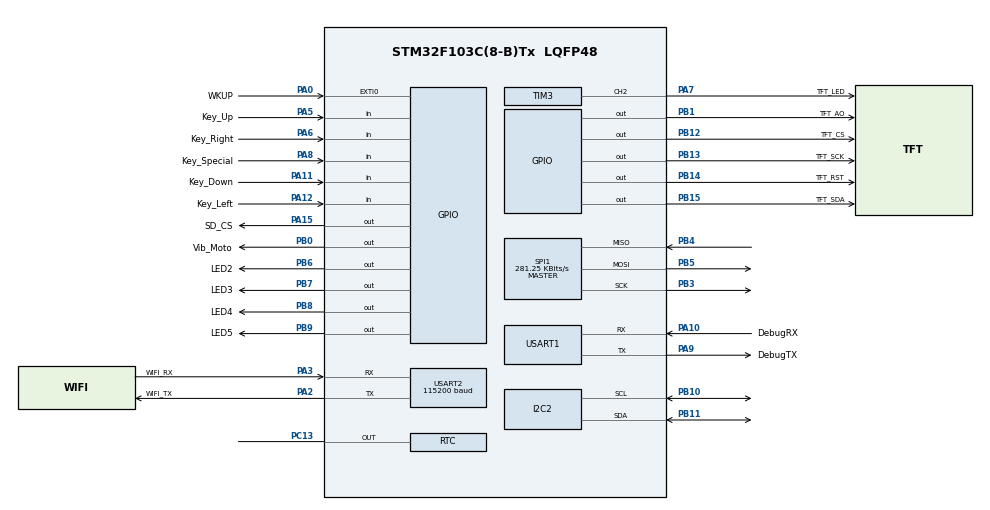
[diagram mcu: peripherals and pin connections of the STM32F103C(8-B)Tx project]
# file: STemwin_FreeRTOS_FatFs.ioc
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FATFS._MAX_LFN=12
FREERTOS.Queues01=KeyQueue,10,Key_Statu_Typedef,0,Dynamic,NULL,NULL;StopQueue,1,uint8_t,0,Dynamic,NULL,NULL
FREERTOS.Tasks01=defaultTask,-2,64,StartDefaultTask,Default,NULL,Dynamic,NULL,NULL;GUITask,-1,512,StartGUITask,Default,NULL,Dynamic,NULL,NULL;KeyTask,3,128,StartKeyTask,Default,NULL,Dynamic,NULL,NULL;AlarmTask,-2,64,StartAlarmTask,Default,NULL,Dynamic,NULL,NULL;StopTask,-2,128,StartStopTask,Default,NULL,Dynamic,NULL,NULL
FREERTOS.configENABLE_BACKWARD_COMPATIBILITY=0
FREERTOS.configIDLE_SHOULD_YIELD=0
FREERTOS.configMAX_TASK_NAME_LEN=12
FREERTOS.configMINIMAL_STACK_SIZE=64
FREERTOS.configQUEUE_REGISTRY_SIZE=0
FREERTOS.configTOTAL_HEAP_SIZE=5210
FREERTOS.configUSE_MUTEXES=1
FREERTOS.configUSE_TASK_NOTIFICATIONS=0
FREERTOS.configUSE_TICKLESS_IDLE=1
Mcu.Family=STM32F1
Mcu.Name=STM32F103C(8-B)Tx
Mcu.Package=LQFP48
NVIC.EXTI0_IRQn=true\:5\:0\:false\:false\:true\:true\:true
NVIC.PriorityGroup=NVIC_PRIORITYGROUP_4
NVIC.RTC_Alarm_IRQn=true\:5\:0\:false\:true\:true\:1\:true\:true
NVIC.TIM4_IRQn=true\:0\:0\:false\:false\:true\:false\:false
NVIC.TimeBase=TIM4_IRQn
NVIC.TimeBaseIP=TIM4
PA0-WKUP.GPIO_Label=WKUP
PA0-WKUP.Signal=GPXTI0
PA10.GPIO_Label=DebugRX
PA10.Mode=Asynchronous
PA10.Signal=USART1_RX
PA11.GPIO_Label=Key_Down
PA11.GPIO_PuPd=GPIO_PULLDOWN
PA11.Signal=GPIO_Input
PA12.GPIO_Label=Key_Left
PA12.GPIO_PuPd=GPIO_PULLDOWN
PA12.Signal=GPIO_Input
PA13.Mode=Serial_Wire
PA13.Signal=SYS_JTMS-SWDIO
PA14.Mode=Serial_Wire
PA14.Signal=SYS_JTCK-SWCLK
PA15.GPIO_Label=SD_CS
PA15.Signal=GPIO_Output
PA2.GPIO_Label=WIFI_TX
PA2.Mode=Asynchronous
PA2.Signal=USART2_TX
PA3.GPIO_Label=WIFI_RX
PA3.Mode=Asynchronous
PA3.Signal=USART2_RX
PA5.GPIO_Label=Key_Up
PA5.GPIO_PuPd=GPIO_PULLDOWN
PA5.Signal=GPIO_Input
PA6.GPIO_Label=Key_Right
PA6.GPIO_PuPd=GPIO_PULLDOWN
PA6.Signal=GPIO_Input
PA7.GPIO_Label=TFT_LED
PA7.Signal=S_TIM3_CH2
PA8.GPIO_Label=Key_Special
PA8.GPIO_PuPd=GPIO_PULLDOWN
PA8.Signal=GPIO_Input
PA9.GPIO_Label=DebugTX
PA9.Mode=Asynchronous
PA9.Signal=USART1_TX
PB0.GPIO_Label=Vib_Moto
PB0.GPIO_Speed=GPIO_SPEED_FREQ_HIGH
PB0.Signal=GPIO_Output
PB1.GPIO_Label=TFT_AO
PB1.GPIO_Speed=GPIO_SPEED_FREQ_HIGH
PB1.Signal=GPIO_Output
PB10.Mode=I2C
PB10.Signal=I2C2_SCL
PB11.Mode=I2C
PB11.Signal=I2C2_SDA
PB12.GPIO_Label=TFT_CS
PB12.GPIO_Speed=GPIO_SPEED_FREQ_HIGH
PB12.Signal=GPIO_Output
PB13.GPIO_Label=TFT_SCK
PB13.GPIO_Speed=GPIO_SPEED_FREQ_HIGH
PB13.Signal=GPIO_Output
PB14.GPIO_Label=TFT_RST
PB14.GPIO_Speed=GPIO_SPEED_FREQ_HIGH
PB14.Signal=GPIO_Output
PB15.GPIO_Label=TFT_SDA
PB15.GPIO_Speed=GPIO_SPEED_FREQ_HIGH
PB15.Signal=GPIO_Output
PB3.Mode=Full_Duplex_Master
PB3.Signal=SPI1_SCK
PB4.Mode=Full_Duplex_Master
PB4.Signal=SPI1_MISO
PB5.Mode=Full_Duplex_Master
PB5.Signal=SPI1_MOSI
PB6.GPIO_Label=LED2
PB6.GPIO_Speed=GPIO_SPEED_FREQ_HIGH
PB6.PinState=GPIO_PIN_SET
PB6.Signal=GPIO_Output
PB7.GPIO_Label=LED3
PB7.GPIO_Speed=GPIO_SPEED_FREQ_HIGH
PB7.PinState=GPIO_PIN_SET
PB7.Signal=GPIO_Output
PB8.GPIO_Label=LED4
PB8.GPIO_Speed=GPIO_SPEED_FREQ_HIGH
PB8.PinState=GPIO_PIN_SET
PB8.Signal=GPIO_Output
PB9.GPIO_Label=LED5
PB9.GPIO_Speed=GPIO_SPEED_FREQ_HIGH
PB9.PinState=GPIO_PIN_SET
PB9.Signal=GPIO_Output
PC13-TAMPER-RTC.Mode=RTC OUT
PC13-TAMPER-RTC.Signal=RTC_OUT
PD0-OSC_IN.Mode=HSE-External-Oscillator
PD0-OSC_IN.Signal=RCC_OSC_IN
PD1-OSC_OUT.Mode=HSE-External-Oscillator
PD1-OSC_OUT.Signal=RCC_OSC_OUT
ProjectManager.HeapSize=0x600
ProjectManager.StackSize=0x800
ProjectManager.TargetToolchain=MDK-ARM V5
RCC.AHBFreq_Value=72000000
RCC.APB1CLKDivider=RCC_HCLK_DIV2
RCC.APB1Freq_Value=36000000
RCC.APB1TimFreq_Value=72000000
RCC.APB2Freq_Value=72000000
RCC.APB2TimFreq_Value=72000000
RCC.HCLKFreq_Value=72000000
RCC.HSE_VALUE=12000000
RCC.PLLMUL=RCC_PLL_MUL6
RCC.PLLSourceVirtual=RCC_PLLSOURCE_HSE
RCC.PREFETCH_ENABLE=1
RCC.SYSCLKFreq_VALUE=72000000
RCC.SYSCLKSource=RCC_SYSCLKSOURCE_PLLCLK
RCC.USBFreq_Value=72000000
RTC.Date=19
RTC.Format=RTC_FORMAT_BIN
RTC.Hours=12
RTC.Hours_A-RTC\ OUT=12
RTC.Minutes=0
RTC.Minutes_A-RTC\ OUT=0
RTC.Month=RTC_MONTH_DECEMBER
RTC.Seconds=0
RTC.Seconds_A-RTC\ OUT=20
RTC.WeekDay=RTC_WEEKDAY_WEDNESDAY
RTC.Year=19
SH.S_TIM3_CH2.0=TIM3_CH2,PWM Generation2 CH2
SPI1.BaudRatePrescaler=SPI_BAUDRATEPRESCALER_256
SPI1.CLKPhase=SPI_PHASE_2EDGE
SPI1.CLKPolarity=SPI_POLARITY_HIGH
SPI1.CalculateBaudRate=281.25 KBits/s
SPI1.Direction=SPI_DIRECTION_2LINES
SPI1.Mode=SPI_MODE_MASTER
SPI1.VirtualType=VM_MASTER
TIM3.Channel-PWM\ Generation2\ CH2=TIM_CHANNEL_2
TIM3.Period=11
TIM3.Prescaler=72-1
TIM3.Pulse-PWM\ Generation2\ CH2=11
USART1.VirtualMode=VM_ASYNC
USART2.BaudRate=115200
USART2.VirtualMode=VM_ASYNC
VP_CRC_VS_CRC.Mode=CRC_Activate
VP_FATFS_VS_Generic.Mode=User_defined
VP_FREERTOS_VS_ENABLE.Mode=Enabled
VP_RTC_VS_RTC_Activate.Mode=RTC_Enabled
VP_RTC_VS_RTC_Calendar.Mode=RTC_Calendar
VP_SYS_VS_tim4.Mode=TIM4
VP_TIM3_VS_ClockSourceINT.Mode=Internal
board=custom

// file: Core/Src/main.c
/* USER CODE BEGIN Header */
/**
  ******************************************************************************
  * @file           : main.c
  * @brief          : Main program body
  ******************************************************************************
  * This notice applies to any and all portions of this file
  * that are not between comment pairs USER CODE BEGIN and
  * USER CODE END. Other portions of this file, whether
  * inserted by the user or by software development tools
  * are owned by their respective copyright owners.
  *
  * Copyright (c) 2018 STMicroelectronics International N.V.
  * All rights reserved.
  *
  * Redistribution and use in source and binary forms, with or without
  * modification, are permitted, provided that the following conditions are met:
  *
  * 1. Redistribution of source code must retain the above copyright notice,
  *    this list of conditions and the following disclaimer.
  * 2. Redistributions in binary form must reproduce the above copyright notice,
  *    this list of conditions and the following disclaimer in the documentation
  *    and/or other materials provided with the distribution.
  * 3. Neither the name of STMicroelectronics nor the names of other
  *    contributors to this software may be used to endorse or promote products
  *    derived from this software without specific written permission.
  * 4. This software, including modifications and/or derivative works of this
  *    software, must execute solely and exclusively on microcontroller or
  *    microprocessor devices manufactured by or for STMicroelectronics.
  * 5. Redistribution and use of this software other than as permitted under
  *    this license is void and will automatically terminate your rights under
  *    this license.
  *
  * THIS SOFTWARE IS PROVIDED BY STMICROELECTRONICS AND CONTRIBUTORS "AS IS"
  * AND ANY EXPRESS, IMPLIED OR STATUTORY WARRANTIES, INCLUDING, BUT NOT
  * LIMITED TO, THE IMPLIED WARRANTIES OF MERCHANTABILITY, FITNESS FOR A
  * PARTICULAR PURPOSE AND NON-INFRINGEMENT OF THIRD PARTY INTELLECTUAL PROPERTY
  * RIGHTS ARE DISCLAIMED TO THE FULLEST EXTENT PERMITTED BY LAW. IN NO EVENT
  * SHALL STMICROELECTRONICS OR CONTRIBUTORS BE LIABLE FOR ANY DIRECT, INDIRECT,
  * INCIDENTAL, SPECIAL, EXEMPLARY, OR CONSEQUENTIAL DAMAGES (INCLUDING, BUT NOT
  * LIMITED TO, PROCUREMENT OF SUBSTITUTE GOODS OR SERVICES; LOSS OF USE, DATA,
  * OR PROFITS; OR BUSINESS INTERRUPTION) HOWEVER CAUSED AND ON ANY THEORY OF
  * LIABILITY, WHETHER IN CONTRACT, STRICT LIABILITY, OR TORT (INCLUDING
  * NEGLIGENCE OR OTHERWISE) ARISING IN ANY WAY OUT OF THE USE OF THIS SOFTWARE,
  * EVEN IF ADVISED OF THE POSSIBILITY OF SUCH DAMAGE.
  *
  ******************************************************************************
  */
/* USER CODE END Header */

#include "main.h"
#include "cmsis_os.h"
#include "crc.h"
#include "fatfs.h"
#include "i2c.h"
#include "rtc.h"
#include "spi.h"
#include "tim.h"
#include "usart.h"
#include "gpio.h"

void SystemClock_Config(void);
void MX_FREERTOS_Init(void);
static void MX_NVIC_Init(void);

int main(void)
{

  /* MCU Configuration--------------------------------------------------------*/

  /* Reset of all peripherals, Initializes the Flash interface and the Systick. */
  HAL_Init();

  /* Configure the system clock */
  SystemClock_Config();

  /* Initialize all configured peripherals */
  MX_GPIO_Init();
  MX_USART2_UART_Init();
  MX_I2C2_Init();
  MX_TIM3_Init();
  MX_RTC_Init();
  MX_CRC_Init();
  MX_USART1_UART_Init();
  MX_SPI1_Init();

  /* Initialize interrupts */
  MX_NVIC_Init();
  /* USER CODE BEGIN 2 */
  LL_GPIO_ResetOutputPin(GPIOB, LED2_Pin | LED3_Pin | LED4_Pin | LED5_Pin);
  HAL_TIM_Base_Start(&htim3);
  HAL_TIM_PWM_Start(&htim3, TIM_CHANNEL_2);
  /* USER CODE END 2 */

  /* Call init function for freertos objects (in freertos.c) */
  MX_FREERTOS_Init();

  /* Start scheduler */
  osKernelStart();

  /* We should never get here as control is now taken by the scheduler */

  /* Infinite loop */
  while (1)
  {

  }
}

void SystemClock_Config(void)
{
  LL_FLASH_SetLatency(LL_FLASH_LATENCY_2);

   if(LL_FLASH_GetLatency() != LL_FLASH_LATENCY_2)
  {
    Error_Handler();
  }
  LL_RCC_HSE_Enable();

   /* Wait till HSE is ready */
  while(LL_RCC_HSE_IsReady() != 1)
  {

  }
  LL_RCC_LSI_Enable();

   /* Wait till LSI is ready */
  while(LL_RCC_LSI_IsReady() != 1)
  {

  }
  LL_PWR_EnableBkUpAccess();
  LL_RCC_ForceBackupDomainReset();
  LL_RCC_ReleaseBackupDomainReset();
  LL_RCC_SetRTCClockSource(LL_RCC_RTC_CLKSOURCE_LSI);
  LL_RCC_EnableRTC();
  LL_RCC_PLL_ConfigDomain_SYS(LL_RCC_PLLSOURCE_HSE_DIV_1, LL_RCC_PLL_MUL_6);
  LL_RCC_PLL_Enable();

   /* Wait till PLL is ready */
  while(LL_RCC_PLL_IsReady() != 1)
  {

  }
  LL_RCC_SetAHBPrescaler(LL_RCC_SYSCLK_DIV_1);
  LL_RCC_SetAPB1Prescaler(LL_RCC_APB1_DIV_2);
  LL_RCC_SetAPB2Prescaler(LL_RCC_APB2_DIV_1);
  LL_RCC_SetSysClkSource(LL_RCC_SYS_CLKSOURCE_PLL);

   /* Wait till System clock is ready */
  while(LL_RCC_GetSysClkSource() != LL_RCC_SYS_CLKSOURCE_STATUS_PLL)
  {

  }
  LL_Init1msTick(72000000);
  LL_SYSTICK_SetClkSource(LL_SYSTICK_CLKSOURCE_HCLK);
  LL_SetSystemCoreClock(72000000);
}

/**
  * @brief NVIC Configuration.
  * @retval None
  */
static void MX_NVIC_Init(void)
{
  /* RTC_Alarm_IRQn interrupt configuration */
  HAL_NVIC_SetPriority(RTC_Alarm_IRQn, 5, 0);
  HAL_NVIC_EnableIRQ(RTC_Alarm_IRQn);
}

void HAL_TIM_PeriodElapsedCallback(TIM_HandleTypeDef *htim)
{
  if (htim->Instance == TIM4) {
    HAL_IncTick();
  }
}

void Error_Handler(void)
{
}

/************************ (C) COPYRIGHT STMicroelectronics *****END OF FILE****/

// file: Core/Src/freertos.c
/* USER CODE BEGIN Header */
/**
  ******************************************************************************
  * File Name          : freertos.c
  * Description        : Code for freertos applications
  ******************************************************************************
  * This notice applies to any and all portions of this file
  * that are not between comment pairs USER CODE BEGIN and
  * USER CODE END. Other portions of this file, whether
  * inserted by the user or by software development tools
  * are owned by their respective copyright owners.
  *
  * Copyright (c) 2018 STMicroelectronics International N.V.
  * All rights reserved.
  *
  * Redistribution and use in source and binary forms, with or without
  * modification, are permitted, provided that the following conditions are met:
  *
  * 1. Redistribution of source code must retain the above copyright notice,
  *    this list of conditions and the following disclaimer.
  * 2. Redistributions in binary form must reproduce the above copyright notice,
  *    this list of conditions and the following disclaimer in the documentation
  *    and/or other materials provided with the distribution.
  * 3. Neither the name of STMicroelectronics nor the names of other
  *    contributors to this software may be used to endorse or promote products
  *    derived from this software without specific written permission.
  * 4. This software, including modifications and/or derivative works of this
  *    software, must execute solely and exclusively on microcontroller or
  *    microprocessor devices manufactured by or for STMicroelectronics.
  * 5. Redistribution and use of this software other than as permitted under
  *    this license is void and will automatically terminate your rights under
  *    this license.
  *
  * THIS SOFTWARE IS PROVIDED BY STMICROELECTRONICS AND CONTRIBUTORS "AS IS"
  * AND ANY EXPRESS, IMPLIED OR STATUTORY WARRANTIES, INCLUDING, BUT NOT
  * LIMITED TO, THE IMPLIED WARRANTIES OF MERCHANTABILITY, FITNESS FOR A
  * PARTICULAR PURPOSE AND NON-INFRINGEMENT OF THIRD PARTY INTELLECTUAL PROPERTY
  * RIGHTS ARE DISCLAIMED TO THE FULLEST EXTENT PERMITTED BY LAW. IN NO EVENT
  * SHALL STMICROELECTRONICS OR CONTRIBUTORS BE LIABLE FOR ANY DIRECT, INDIRECT,
  * INCIDENTAL, SPECIAL, EXEMPLARY, OR CONSEQUENTIAL DAMAGES (INCLUDING, BUT NOT
  * LIMITED TO, PROCUREMENT OF SUBSTITUTE GOODS OR SERVICES; LOSS OF USE, DATA,
  * OR PROFITS; OR BUSINESS INTERRUPTION) HOWEVER CAUSED AND ON ANY THEORY OF
  * LIABILITY, WHETHER IN CONTRACT, STRICT LIABILITY, OR TORT (INCLUDING
  * NEGLIGENCE OR OTHERWISE) ARISING IN ANY WAY OUT OF THE USE OF THIS SOFTWARE,
  * EVEN IF ADVISED OF THE POSSIBILITY OF SUCH DAMAGE.
  *
  ******************************************************************************
  */
/* USER CODE END Header */

#include "FreeRTOS.h"
#include "task.h"
#include "main.h"
#include "cmsis_os.h"

/* USER CODE BEGIN Includes */
#include "gpio.h"
#include "rtc.h"
#include "tim.h"
#include "usart.h"
#include "crc.h"
#include "fatfs.h"
#include "gui.h"
#include "DIALOG.h"

#include "BSP_Key.h"
#include "BSP_LED.h"

#include "BSP_SHT20.h"
/* USER CODE END Includes */

/* USER CODE BEGIN Variables */
FRESULT res;
/* USER CODE END Variables */
osThreadId defaultTaskHandle;
osThreadId GUITaskHandle;
osThreadId KeyTaskHandle;
osThreadId AlarmTaskHandle;
osThreadId StopTaskHandle;
osMessageQId KeyQueueHandle;
osMessageQId StopQueueHandle;

void StartDefaultTask(void const * argument);
void StartGUITask(void const * argument);
void StartKeyTask(void const * argument);
void StartAlarmTask(void const * argument);
void StartStopTask(void const * argument);

extern void MX_FATFS_Init(void);
void MX_FREERTOS_Init(void); /* (MISRA C 2004 rule 8.1) */

/* Pre/Post sleep processing prototypes */
void PreSleepProcessing(uint32_t *ulExpectedIdleTime);
void PostSleepProcessing(uint32_t *ulExpectedIdleTime);

/* USER CODE BEGIN PREPOSTSLEEP */
__weak void PreSleepProcessing(uint32_t *ulExpectedIdleTime)
{
	 HAL_PWR_EnterSLEEPMode(PWR_LOWPOWERREGULATOR_ON, PWR_SLEEPENTRY_WFI); //PWR_LOWPOWERREGULATOR_ON  PWR_MAINREGULATOR_ON
/* place for user code */
}

__weak void PostSleepProcessing(uint32_t *ulExpectedIdleTime)
{
/* place for user code */
}
/* USER CODE END PREPOSTSLEEP */

void MX_FREERTOS_Init(void) {

  /* Create the thread(s) */
  /* definition and creation of defaultTask */
  osThreadDef(defaultTask, StartDefaultTask, osPriorityRealtime, 0, 64);
  defaultTaskHandle = osThreadCreate(osThread(defaultTask), NULL);

  /* definition and creation of GUITask */
  osThreadDef(GUITask, StartGUITask, osPriorityBelowNormal, 0, 512);
  GUITaskHandle = osThreadCreate(osThread(GUITask), NULL);

  /* definition and creation of KeyTask */
  osThreadDef(KeyTask, StartKeyTask, osPriorityRealtime, 0, 128);
  KeyTaskHandle = osThreadCreate(osThread(KeyTask), NULL);

  /* definition and creation of AlarmTask */
  osThreadDef(AlarmTask, StartAlarmTask, osPriorityLow, 0, 64);
  AlarmTaskHandle = osThreadCreate(osThread(AlarmTask), NULL);

  /* definition and creation of StopTask */
  osThreadDef(StopTask, StartStopTask, osPriorityLow, 0, 128);
  StopTaskHandle = osThreadCreate(osThread(StopTask), NULL);

  /* Create the queue(s) */
  /* definition and creation of KeyQueue */
  osMessageQDef(KeyQueue, 10, Key_Statu_Typedef);
  KeyQueueHandle = osMessageCreate(osMessageQ(KeyQueue), NULL);

  /* definition and creation of StopQueue */
  osMessageQDef(StopQueue, 1, uint8_t);
  StopQueueHandle = osMessageCreate(osMessageQ(StopQueue), NULL);

}

void StartDefaultTask(void const * argument)
{
  /* init code for FATFS */
  MX_FATFS_Init();
  res=f_mount(&USERFatFS,(const TCHAR *)USERPath,1);
  if(res!= RES_OK)
		{

		}

  /* USER CODE BEGIN StartDefaultTask */
  /* Infinite loop */
  for(;;)
  {
    LED2_ON;
    osDelay(100);
    LED2_OFF;

    LED3_ON;
    osDelay(100);
    LED3_OFF;

    LED4_ON;
    osDelay(100);
    LED4_OFF;

    LED5_ON;
    osDelay(100);
    LED5_OFF;

    LED4_ON;
    osDelay(100);
    LED4_OFF;

    LED3_ON;
    osDelay(100);
    LED3_OFF;
  }
  /* USER CODE END StartDefaultTask */
}

void StartGUITask(void const * argument)
{
  /* USER CODE BEGIN StartGUITask */
  /* Infinite loop */
	 GUI_Init();
  GUI_SetBkColor(GUI_BLACK);
  GUI_SetColor(GUI_GREEN);
  GUI_Clear();
  GUI_SetFont(GUI_FONT_13_ASCII);
  for(;;)
  {
    osDelay(1);
  }
  /* USER CODE END StartGUITask */
}

void StartKeyTask(void const * argument)
{
  for(;;)
  {
    osDelay(1);
  }
}

void StartAlarmTask(void const * argument)
{
  for(;;)
  {
    osDelay(1);
  }
}

void StartStopTask(void const * argument)
{
  for(;;)
  {
    osDelay(1);
  }
}

/************************ (C) COPYRIGHT STMicroelectronics *****END OF FILE****/
